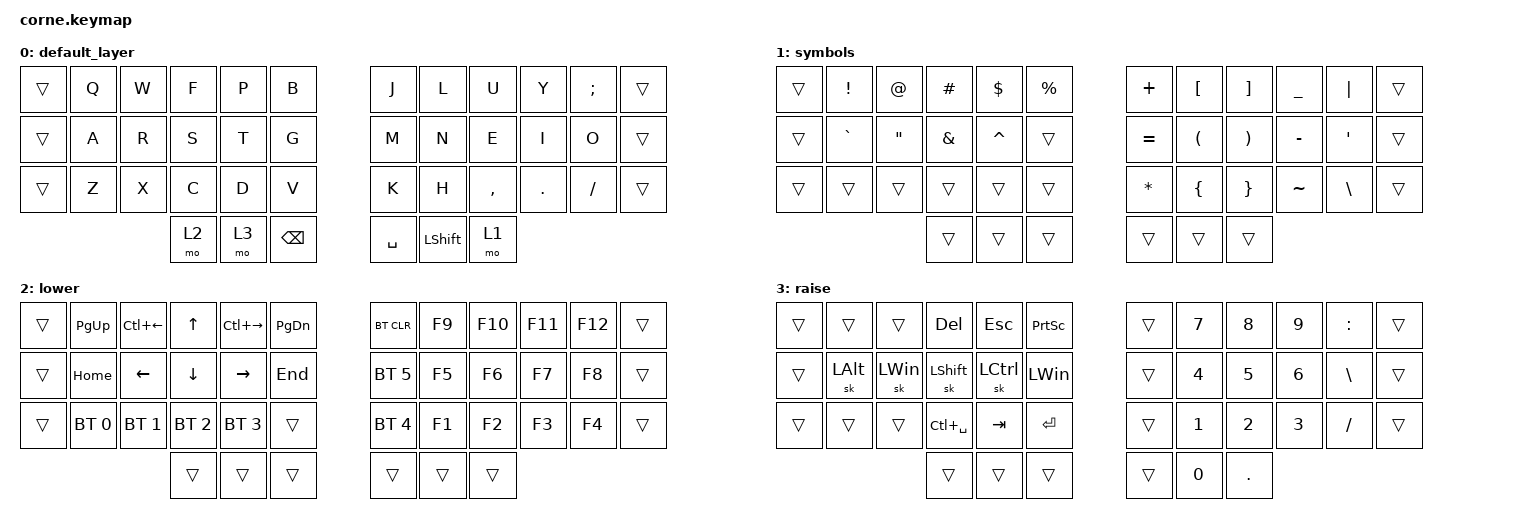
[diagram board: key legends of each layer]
/*
 * Copyright (c) 2020 The ZMK Contributors
 *
 * SPDX-License-Identifier: MIT
 */

#include <behaviors.dtsi>
#include <dt-bindings/zmk/bt.h>
#include <dt-bindings/zmk/keys.h>

/ {
    keymap {
        compatible = "zmk,keymap";

// --------------------------------------------------------------------------------------------------------------------------------------------------------------------------------

        default_layer {
            // -----------------------------------------------------------------------------
            // ||  Q   |  W   |  F   |  P   |  B   |   |  J   |  L   |  U   |  Y   |  ;   ||
            // ||  A   |  R   |  S   |  T   |  G   |   |  M   |  N   |  E   |  I   |  O   ||
            // ||  Z   |  X   |  C   |  D   |  V   |   |  K   |  H   |  ,   |  .   |  /   ||
            // -----------------------------------------------------------------------------
            //                | LOW  | RSE  | BkSp |   | SPC  | SHFT | SYM  |
            // -----------------------------------------------------------------------------

            bindings = <
&trans  &kp Q  &kp W  &kp F  &kp P  &kp B            &kp J      &kp L           &kp U      &kp Y    &kp SEMI  &trans
&trans  &kp A  &kp R  &kp S  &kp T  &kp G            &kp M      &kp N           &kp E      &kp I    &kp O     &trans
&trans  &kp Z  &kp X  &kp C  &kp D  &kp V            &kp K      &kp H           &kp COMMA  &kp DOT  &kp FSLH  &trans
                      &mo 2  &mo 3  &kp BACKSPACE    &kp SPACE  &kp LEFT_SHIFT  &mo 1
            >;
        };

// --------------------------------------------------------------------------------------------------------------------------------------------------------------------------------

        symbols {
            // -----------------------------------------------------------------------------
            // ||  !   |  @   |  #   |  $   |  %   |   |  +   |  [   |  ]   |  _   |  |   ||
            // ||  `   |  "   |  &   |  ^   |      |   |  =   |  (   |  )   |  -   |  '   ||
            // ||      |      |      |      |      |   |  *   |  {   |  }   |  ~   |  \   ||
            // -----------------------------------------------------------------------------
            //                       |      |      |   |      |      |      | SYM  |
            // -----------------------------------------------------------------------------

            bindings = <
&trans  &kp EXCL   &kp AT             &kp HASH       &kp DOLLAR  &kp PERCENT    &kp PLUS      &kp LEFT_BRACKET      &kp RIGHT_BRACKET      &kp UNDERSCORE  &kp PIPE       &trans
&trans  &kp GRAVE  &kp DOUBLE_QUOTES  &kp AMPERSAND  &kp CARET   &trans         &kp EQUAL     &kp LEFT_PARENTHESIS  &kp RIGHT_PARENTHESIS  &kp MINUS       &kp SQT        &trans
&trans  &trans     &trans             &trans         &trans      &trans         &kp ASTERISK  &kp LEFT_BRACE        &kp RIGHT_BRACE        &kp TILDE       &kp BACKSLASH  &trans
                                      &trans         &trans      &trans         &trans        &trans                &trans
            >;
        };

// --------------------------------------------------------------------------------------------------------------------------------------------------------------------------------

        lower {
            // -----------------------------------------------------------------------------
            // || PgUp | ←←   |  ↑   |  →→  | PgDn |   | BTCL |  F9  |  F10 |  F11 |  F12 ||
            // || Home |  ←   |  ↓   |  →   |      |   | BT5  |  F5  |  F6  |  F7  |  F8  ||
            // || BT0  | BT1  | BT2  | BT3  |      |   | BT4  |  F1  |  F2  |  F3  |  F4  ||
            // -----------------------------------------------------------------------------
            //                | LOW  |      |      |   |      |      |      |
            // -----------------------------------------------------------------------------

            bindings = <
&trans  &kp PAGE_UP   &kp LC(LEFT)  &kp UP_ARROW  &kp LC(RIGHT)  &kp PAGE_DOWN    &bt BT_CLR    &kp F9  &kp F10  &kp F11  &kp F12  &trans
&trans  &kp HOME      &kp LEFT      &kp DOWN      &kp RIGHT      &kp END          &bt BT_SEL 5  &kp F5  &kp F6   &kp F7   &kp F8   &trans
&trans  &bt BT_SEL 0  &bt BT_SEL 1  &bt BT_SEL 2  &bt BT_SEL 3   &trans           &bt BT_SEL 4  &kp F1  &kp F2   &kp F3   &kp F4   &trans
                                    &trans        &trans         &trans           &trans        &trans  &trans
            >;
        };

// --------------------------------------------------------------------------------------------------------------------------------------------------------------------------------

        raise {
            // -----------------------------------------------------------------------------
            // ||      |      | Del  | Esc  | PrSc |   |      |  7   |  8   |  9   |  :   ||
            // || sAlt | sWin | sSft | sCtl | Win  |   |      |  4   |  5   |  6   |  \   ||
            // ||      |      | Tmux | Tab  | Entr |   |      |  1   |  2   |  3   |  /   ||
            // -----------------------------------------------------------------------------
            //                |      | RSE  |      |   |      |  0   |  .   |
            // -----------------------------------------------------------------------------

            bindings = <
&trans  &trans        &trans        &kp DEL         &kp ESC           &kp PRINTSCREEN    &trans  &kp NUMBER_7  &kp NUMBER_8  &kp NUMBER_9  &kp COLON      &trans
&trans  &sk LEFT_ALT  &sk LEFT_WIN  &sk LEFT_SHIFT  &sk LEFT_CONTROL  &kp LEFT_WIN       &trans  &kp NUMBER_4  &kp NUMBER_5  &kp NUMBER_6  &kp BACKSLASH  &trans
&trans  &trans        &trans        &kp LC(SPACE)   &kp TAB           &kp ENTER          &trans  &kp NUMBER_1  &kp NUMBER_2  &kp NUMBER_3  &kp SLASH      &trans
                                    &trans          &trans            &trans             &trans  &kp N0        &kp PERIOD
            >;
        };
    };
};

// --------------------------------------------------------------------------------------------------------------------------------------------------------------------------------
